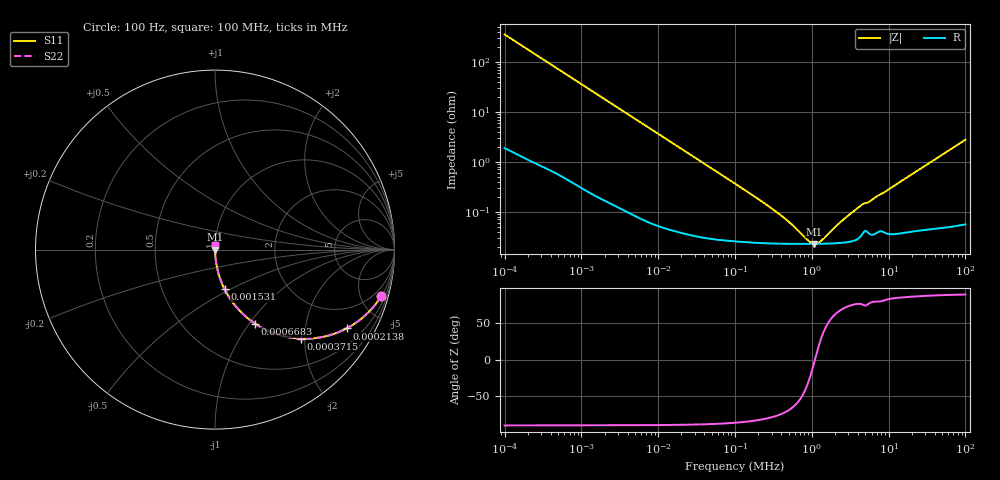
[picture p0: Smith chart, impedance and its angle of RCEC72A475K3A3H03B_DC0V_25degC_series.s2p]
!Murata Part Number: RCEC72A475K3A3H03B
!These Parameters are Measured in Series Mode Connection
!  o--ll--o
!Port1  Port2
!  o------o
!Operation Temp=25[degC], DC Bias Voltage=0[V]
!Freq. Start=100[Hz] Stop=100[MHz], 401[Steps]
!Data Generated on Apr 21, 2023
# Hz S RI R 50
!Freq.(Hz) S11(Real) S11(Imag) S21(Real) S21(Imag) S12(Real) S12(Imag) S22(Real) S22(Imag)
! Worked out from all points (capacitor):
!   401 points, 100 Hz to 100 MHz, reference 50 ohm
!   read as one part in series: C = 4.48 uF near 107.2 Hz
!   lowest |Z| = 22.7 mohm at 1.084 MHz (marker M1)
!   series resonance near 1.098 MHz, so ESL is about 4.7 nH
!   S11 on the Smith chart (normalised r, x): 100 Hz: 1.04, -7.10; 213.8 Hz: 1.02, -3.33; 371.5 Hz: 1.01, -1.92; 668.3 Hz: 1.01, -1.07; 1.531 kHz: 1.00, -0.47; 100 MHz: 1.00, +0.06
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100  0.9252 -0.2604  0.0748 0.2604  0.0748 0.2604  0.9252 -0.2604
146.2177  0.8537 -0.3505  0.1463 0.3505  0.1463 0.3505  0.8537 -0.3505
213.7962  0.7334 -0.4391  0.2666 0.4391  0.2666 0.4391  0.7334 -0.4391
371.5352  0.4797 -0.496  0.5203 0.496  0.5203 0.496  0.4797 -0.496
668.3439  0.2245 -0.4133  0.7755 0.4133  0.7755 0.4133  0.2245 -0.4133
1011.579  0.1136 -0.3132  0.8864 0.3132  0.8864 0.3132  0.1136 -0.3132
1531.087  0.0539 -0.2215  0.9461 0.2215  0.9461 0.2215  0.0539 -0.2215
3507.519  0.0115 -0.1016  0.9885 0.1016  0.9885 0.1016  0.0115 -0.1016
10232.93  0.00176 -0.0354  0.9982 0.0354  0.9982 0.0354  0.00176 -0.0354
100000  0.000267 -0.00364  0.9997 0.00364  0.9997 0.00364  0.000267 -0.00364
371535.2  0.000229 -0.000881  0.9998 0.000881  0.9998 0.000881  0.000229 -0.000881
562341.3  0.000226 -0.000485  0.9998 0.000485  0.9998 0.000485  0.000226 -0.000485
881048.9  0.000226 -0.00015  0.9998 0.00015  0.9998 0.00015  0.000226 -0.00015
1011579  0.000226 -5.54e-05  0.9998 5.54e-05  0.9998 5.54e-05  0.000226 -5.54e-05
1083927  0.000226 -8.7e-06  0.9998 8.7e-06  0.9998 8.7e-06  0.000226 -8.7e-06
1202264  0.000227 6.13e-05  0.9998 -6.13e-05  0.9998 -6.13e-05  0.000227 6.13e-05
1333521  0.000228 0.000132  0.9998 -0.000132  0.9998 -0.000132  0.000228 0.000132
2317395  0.000236 0.000555  0.9998 -0.000555  0.9998 -0.000555  0.000236 0.000555
4315191  0.000319 0.00128  0.9997 -0.00128  0.9997 -0.00128  0.000319 0.00128
5688529  0.000357 0.00157  0.9996 -0.00157  0.9996 -0.00157  0.000357 0.00157
1.023293e7  0.000363 0.00283  0.9996 -0.00283  0.9996 -0.00283  0.000363 0.00283
1e8  0.00131 0.0275  0.9987 -0.0275  0.9987 -0.0275  0.00131 0.0275
